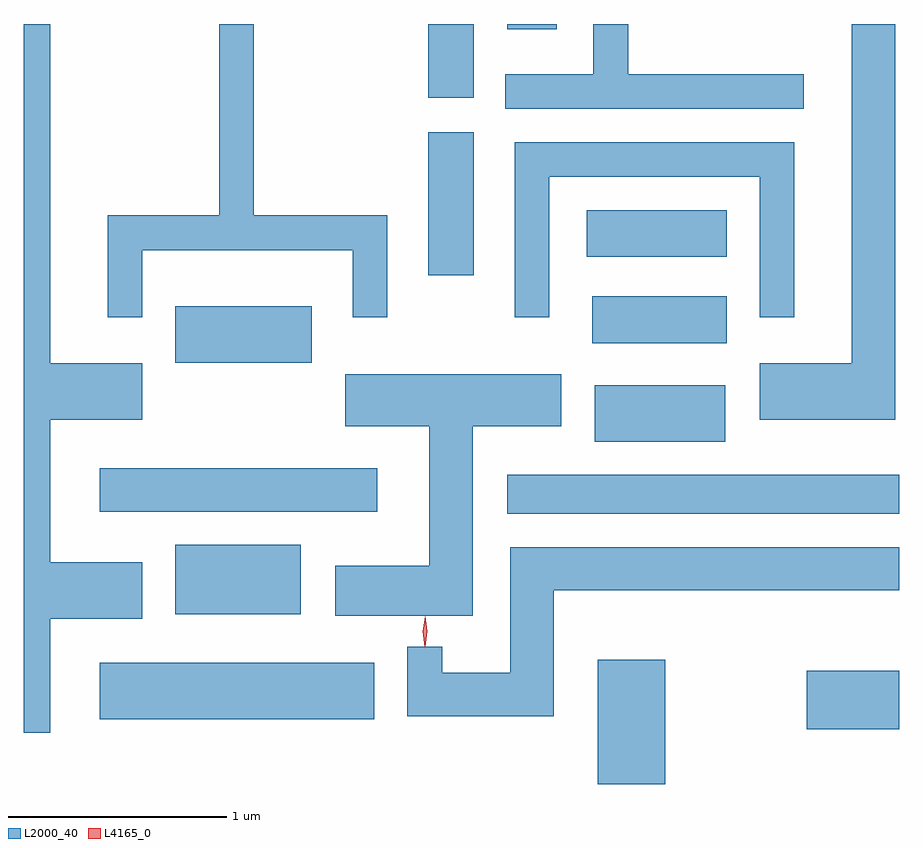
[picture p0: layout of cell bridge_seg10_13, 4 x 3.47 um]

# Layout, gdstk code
import gdstk
lib = gdstk.Library(unit=1e-6, precision=1e-09)
def R(c, l, rs):  # rectangles x0, y0, x1, y1
    for r in rs: c.add(gdstk.rectangle(r[:2], r[2:], *l))
def P(c, l, *ps):  # polygons
    for p in ps: c.add(gdstk.Polygon(p, *l))
L2000_40 = (2000, 40)
L4165_0 = (4165, 0)

bridge_seg10_13 = lib.new_cell('bridge_seg10_13')
R(bridge_seg10_13, L2000_40, [(1821.951,2205.166,1822.259,2205.734), (1822.906,2205.416,1823.328,2205.684), (1819.676,2205.461,1820.929,2205.719), (1820.021,2205.941,1820.594,2206.259), (1821.536,2206.401,1823.328,2206.579), (1819.676,2206.411,1820.944,2206.609), (1821.936,2206.731,1822.534,2206.989), (1820.021,2207.091,1820.644,2207.349), (1821.926,2207.181,1822.539,2207.394), (1821.176,2207.491,1821.384,2208.144), (1821.901,2207.576,1822.539,2207.789), (1821.176,2208.301,1821.384,2208.639), (1821.536,2208.616,1821.764,2208.639)])
P(bridge_seg10_13, L2000_40, [(1819.449,2205.921),(1819.869,2205.921),(1819.869,2206.179),(1819.449,2206.179),(1819.449,2206.831),(1819.869,2206.831),(1819.869,2207.089),(1819.449,2207.089),(1819.449,2208.639),(1819.328,2208.639),(1819.328,2205.401),(1819.449,2205.401)],
  [(1822.893,2208.409),(1822.089,2208.409),(1822.089,2208.639),(1821.931,2208.639),(1821.931,2208.409),(1821.528,2208.409),(1821.528,2208.251),(1822.893,2208.251)],
  [(1819.869,2207.606),(1820.831,2207.606),(1820.831,2207.298),(1820.989,2207.298),(1820.989,2207.764),(1820.379,2207.764),(1820.379,2208.639),(1820.221,2208.639),(1820.221,2207.764),(1819.711,2207.764),(1819.711,2207.298),(1819.869,2207.298)],
  [(1823.309,2208.639),(1823.111,2208.639),(1823.111,2207.089),(1822.691,2207.089),(1822.691,2206.831),(1823.309,2206.831)],
  [(1821.729,2207.941),(1822.691,2207.941),(1822.691,2207.298),(1822.849,2207.298),(1822.849,2208.099),(1821.571,2208.099),(1821.571,2207.298),(1821.729,2207.298)],
  [(1821.379,2206.801),(1821.784,2206.801),(1821.784,2207.039),(1820.796,2207.039),(1820.796,2206.801),(1821.181,2206.801),(1821.181,2206.164),(1820.751,2206.164),(1820.751,2205.936),(1821.379,2205.936)],
  [(1821.749,2206.051),(1823.328,2206.051),(1823.328,2206.249),(1821.551,2206.249),(1821.551,2205.674),(1821.239,2205.674),(1821.239,2205.793),(1821.081,2205.793),(1821.081,2205.476),(1821.749,2205.476)])
P(bridge_seg10_13, L4165_0, [(1821.161,2205.794),(1821.152,2205.863),(1821.162,2205.932),(1821.162,2205.932),(1821.163,2205.932),(1821.172,2205.863),(1821.162,2205.794),(1821.162,2205.794)])

lib.write_gds('bridge_seg10_13.gds')
